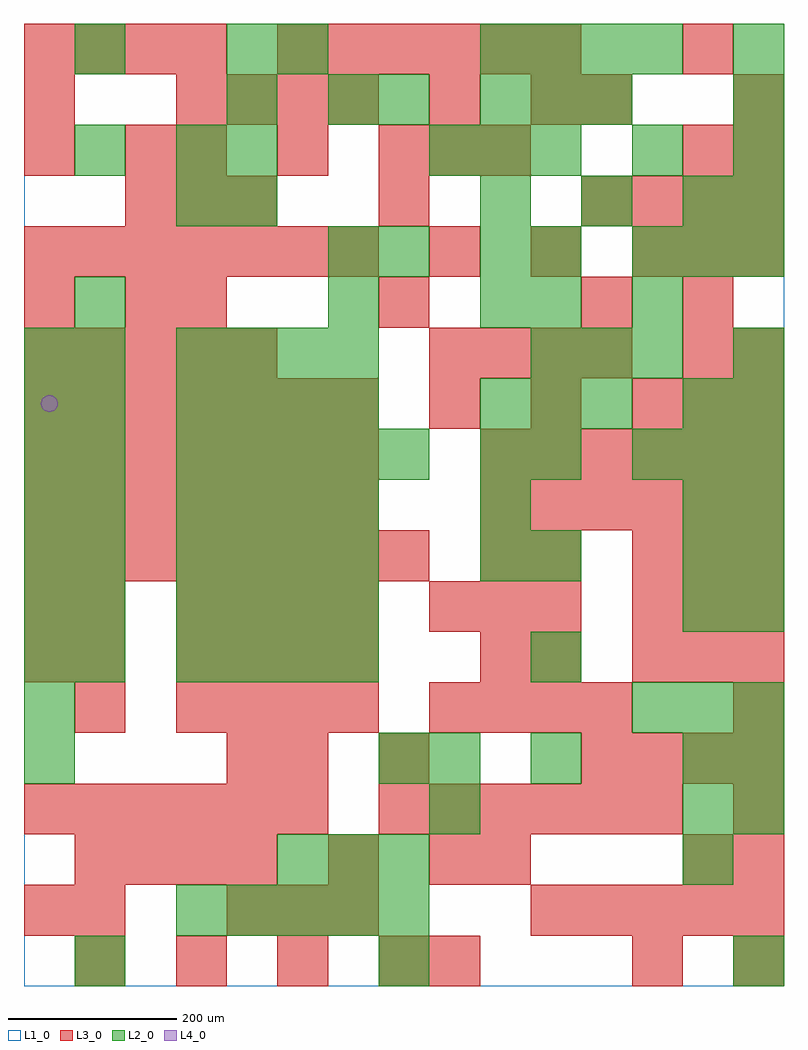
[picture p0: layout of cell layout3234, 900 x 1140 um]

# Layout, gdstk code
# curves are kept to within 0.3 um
import gdstk
lib = gdstk.Library(unit=1e-6, precision=1e-09)
def R(c, l, rs):  # rectangles x0, y0, x1, y1
    for r in rs: c.add(gdstk.rectangle(r[:2], r[2:], *l))
def A(c, l, x, y, w, h, nx, ny, dx, dy):  # array of equal rectangles
    R(c, l, [(x+i*dx, y+j*dy, x+i*dx+w, y+j*dy+h) for i in range(nx) for j in range(ny)])
def P(c, l, *ps):  # polygons
    for p in ps: c.add(gdstk.Polygon(p, *l))
L1_0 = (1, 0)
L2_0 = (2, 0)
L3_0 = (3, 0)
L4_0 = (4, 0)

layout3234 = lib.new_cell('layout3234')
R(layout3234, L1_0, [(0,0,900,1140)])
A(layout3234, L2_0, 180, 60, 60, 60, 5, 2, 60, 540)
A(layout3234, L2_0, 300, 120, 60, 60, 3, 1, 60, 0)
A(layout3234, L2_0, 780, 120, 60, 60, 1, 3, 0, 60)
A(layout3234, L2_0, 0, 240, 60, 60, 1, 9, 0, 60)
A(layout3234, L2_0, 600, 240, 60, 60, 1, 4, 0, 120)
A(layout3234, L2_0, 720, 300, 60, 60, 3, 2, 60, 300)
A(layout3234, L2_0, 60, 360, 60, 60, 1, 8, 0, 60)
A(layout3234, L2_0, 180, 360, 60, 60, 4, 4, 60, 60)
A(layout3234, L2_0, 780, 420, 60, 60, 1, 3, 0, 60)
A(layout3234, L2_0, 840, 420, 60, 60, 1, 3, 0, 60)
A(layout3234, L2_0, 540, 480, 60, 60, 1, 3, 0, 60)
A(layout3234, L2_0, 180, 660, 60, 60, 4, 2, 60, 60)
A(layout3234, L2_0, 540, 660, 60, 60, 3, 2, 60, 360)
A(layout3234, L2_0, 600, 720, 60, 60, 3, 1, 60, 0)
A(layout3234, L2_0, 720, 840, 60, 60, 3, 1, 60, 0)
A(layout3234, L2_0, 240, 900, 60, 60, 1, 4, 0, 60)
A(layout3234, L2_0, 540, 900, 60, 60, 3, 1, 120, 0)
A(layout3234, L2_0, 840, 900, 60, 60, 1, 4, 0, 60)
A(layout3234, L2_0, 480, 960, 60, 60, 3, 1, 60, 0)
A(layout3234, L2_0, 540, 1080, 60, 60, 4, 1, 60, 0)
R(layout3234, L2_0, [(60,0,120,60), (420,0,480,60), (840,0,900,60), (480,180,540,240), (840,180,900,240), (420,240,480,300), (480,240,540,300), (840,240,900,300), (780,660,840,720), (840,660,900,720), (840,720,900,780), (360,780,420,840), (540,780,600,840), (600,780,660,840), (720,780,780,840), (360,840,420,900), (420,840,480,900), (540,840,600,900), (600,840,660,900), (180,900,240,960), (60,960,120,1020), (180,960,240,1020), (720,960,780,1020), (360,1020,420,1080), (420,1020,480,1080), (60,1080,120,1140), (300,1080,360,1140)])
A(layout3234, L3_0, 60, 0, 60, 60, 4, 1, 120, 0)
A(layout3234, L3_0, 240, 60, 60, 60, 3, 1, 60, 0)
A(layout3234, L3_0, 600, 60, 60, 60, 5, 1, 60, 0)
A(layout3234, L3_0, 60, 120, 60, 60, 4, 1, 60, 0)
A(layout3234, L3_0, 0, 180, 60, 60, 6, 1, 60, 0)
A(layout3234, L3_0, 420, 180, 60, 60, 6, 1, 60, 0)
A(layout3234, L3_0, 660, 240, 60, 60, 4, 2, 60, 660)
A(layout3234, L3_0, 60, 300, 60, 60, 1, 3, 0, 60)
A(layout3234, L3_0, 180, 300, 60, 60, 4, 3, 60, 60)
A(layout3234, L3_0, 480, 300, 60, 60, 4, 2, 60, 420)
A(layout3234, L3_0, 720, 360, 60, 60, 3, 3, 60, 60)
A(layout3234, L3_0, 480, 420, 60, 60, 3, 1, 60, 0)
A(layout3234, L3_0, 0, 480, 60, 60, 8, 1, 60, 0)
A(layout3234, L3_0, 0, 540, 60, 60, 7, 3, 60, 60)
A(layout3234, L3_0, 540, 540, 60, 60, 6, 2, 60, 60)
A(layout3234, L3_0, 480, 660, 60, 60, 3, 2, 120, 180)
A(layout3234, L3_0, 780, 660, 60, 60, 1, 4, 0, 60)
A(layout3234, L3_0, 0, 720, 60, 60, 5, 1, 60, 0)
A(layout3234, L3_0, 840, 720, 60, 60, 1, 3, 0, 120)
A(layout3234, L3_0, 180, 780, 60, 60, 3, 1, 240, 0)
A(layout3234, L3_0, 0, 840, 60, 60, 7, 1, 60, 0)
A(layout3234, L3_0, 120, 900, 60, 60, 3, 1, 60, 0)
A(layout3234, L3_0, 180, 960, 60, 60, 3, 1, 120, 0)
A(layout3234, L3_0, 180, 1020, 60, 60, 4, 1, 60, 0)
A(layout3234, L3_0, 0, 1080, 60, 60, 4, 1, 60, 0)
A(layout3234, L3_0, 300, 1080, 60, 60, 6, 1, 60, 0)
R(layout3234, L3_0, [(480,0,540,60), (720,0,780,60), (840,0,900,60), (0,60,60,120), (60,60,120,120), (360,120,420,180), (480,120,540,180), (540,120,600,180), (780,120,840,180), (840,120,900,180), (840,180,900,240), (240,240,300,300), (300,240,360,300), (420,240,480,300), (840,300,900,360), (0,360,60,420), (540,360,600,420), (600,360,660,420), (0,420,60,480), (540,480,600,540), (600,480,660,540), (840,660,900,720), (0,780,60,840), (120,780,180,840), (420,900,480,960), (0,960,60,1020), (120,960,180,1020), (480,960,540,1020), (540,960,600,1020), (780,960,840,1020), (0,1020,60,1080), (480,1020,540,1080), (600,1020,660,1080), (660,1020,720,1080), (840,1020,900,1080), (780,1080,840,1140)])
P(layout3234, L4_0, [(40,690),(39.239,693.827),(37.071,697.071),(33.827,699.239),(30,700),(26.173,699.239),(22.929,697.071),(20.761,693.827),(20,690),(20.761,686.173),(22.929,682.929),(26.173,680.761),(30,680),(33.827,680.761),(37.071,682.929),(39.239,686.173)])

lib.write_gds('layout3234.gds')
